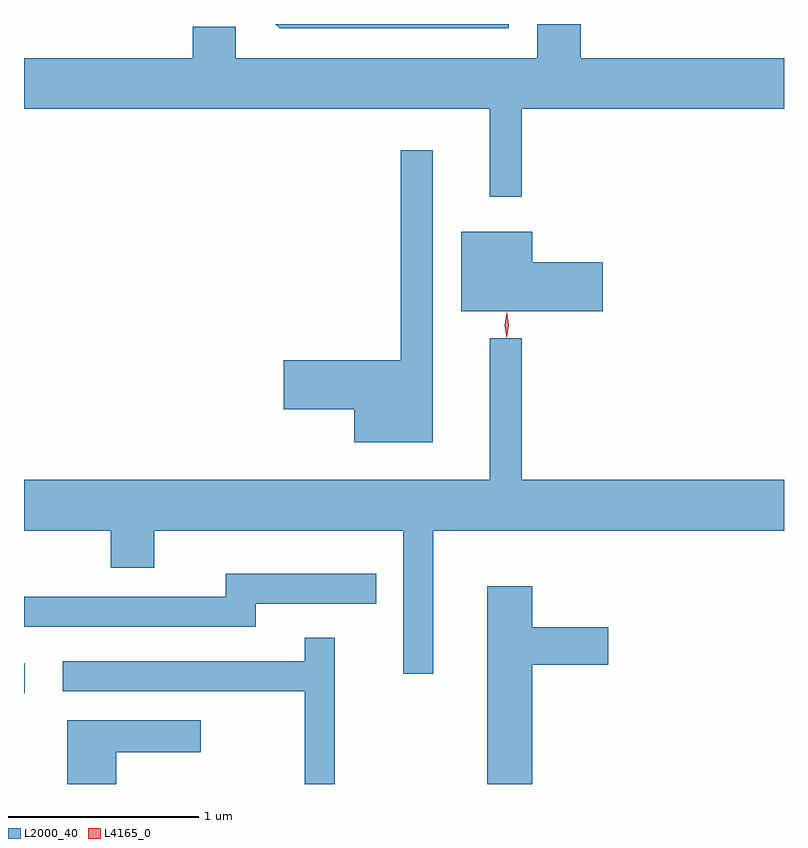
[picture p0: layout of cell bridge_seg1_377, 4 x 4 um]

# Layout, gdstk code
import gdstk
lib = gdstk.Library(unit=1e-6, precision=1e-09)
def R(c, l, rs):  # rectangles x0, y0, x1, y1
    for r in rs: c.add(gdstk.rectangle(r[:2], r[2:], *l))
def P(c, l, *ps):  # polygons
    for p in ps: c.add(gdstk.Polygon(p, *l))
L2000_40 = (2000, 40)
L4165_0 = (4165, 0)

bridge_seg1_377 = lib.new_cell('bridge_seg1_377')
R(bridge_seg1_377, L2000_40, [(439.999,967.541,440.003,967.699)])
P(bridge_seg1_377, L2000_40, [(442.619,970.616),(443.999,970.616),(443.999,970.884),(442.929,970.884),(442.929,971.063),(442.701,971.063),(442.701,970.884),(441.114,970.884),(441.114,971.049),(440.886,971.049),(440.886,970.884),(439.999,970.884),(439.999,970.616),(442.451,970.616),(442.451,970.153),(442.619,970.153)],
  [(442.549,971.063),(441.322,971.063),(441.344,971.041),(442.549,971.041)],
  [(442.149,970.398),(441.981,970.398),(441.981,969.294),(441.366,969.294),(441.366,969.036),(441.736,969.036),(441.736,968.861),(442.149,968.861)],
  [(443.044,969.809),(442.674,969.809),(442.674,969.969),(442.301,969.969),(442.301,969.551),(443.044,969.551)],
  [(442.154,968.396),(443.999,968.396),(443.999,968.664),(442.619,968.664),(442.619,969.408),(442.451,969.408),(442.451,968.664),(439.999,968.664),(439.999,968.396),(440.456,968.396),(440.456,968.201),(440.684,968.201),(440.684,968.396),(441.996,968.396),(441.996,967.643),(442.154,967.643)],
  [(441.219,968.011),(441.853,968.011),(441.853,968.169),(441.061,968.169),(441.061,968.049),(439.999,968.049),(439.999,967.891),(441.219,967.891)],
  [(442.674,967.691),(443.074,967.691),(443.074,967.889),(442.674,967.889),(442.674,968.104),(442.436,968.104),(442.436,967.063),(442.674,967.063)],
  [(441.634,967.833),(441.476,967.833),(441.476,967.709),(440.203,967.709),(440.203,967.551),(441.476,967.551),(441.476,967.063),(441.634,967.063)],
  [(440.484,967.231),(440.928,967.231),(440.928,967.399),(440.226,967.399),(440.226,967.063),(440.484,967.063)])
P(bridge_seg1_377, L4165_0, [(442.54,969.41),(442.54,969.41),(442.53,969.478),(442.54,969.546),(442.54,969.546),(442.54,969.546),(442.55,969.478),(442.54,969.41)],
  [(442.54,969.413),(442.54,969.413),(442.531,969.476),(442.541,969.539),(442.542,969.54),(442.542,969.539),(442.551,969.476),(442.54,969.413)])

lib.write_gds('bridge_seg1_377.gds')
